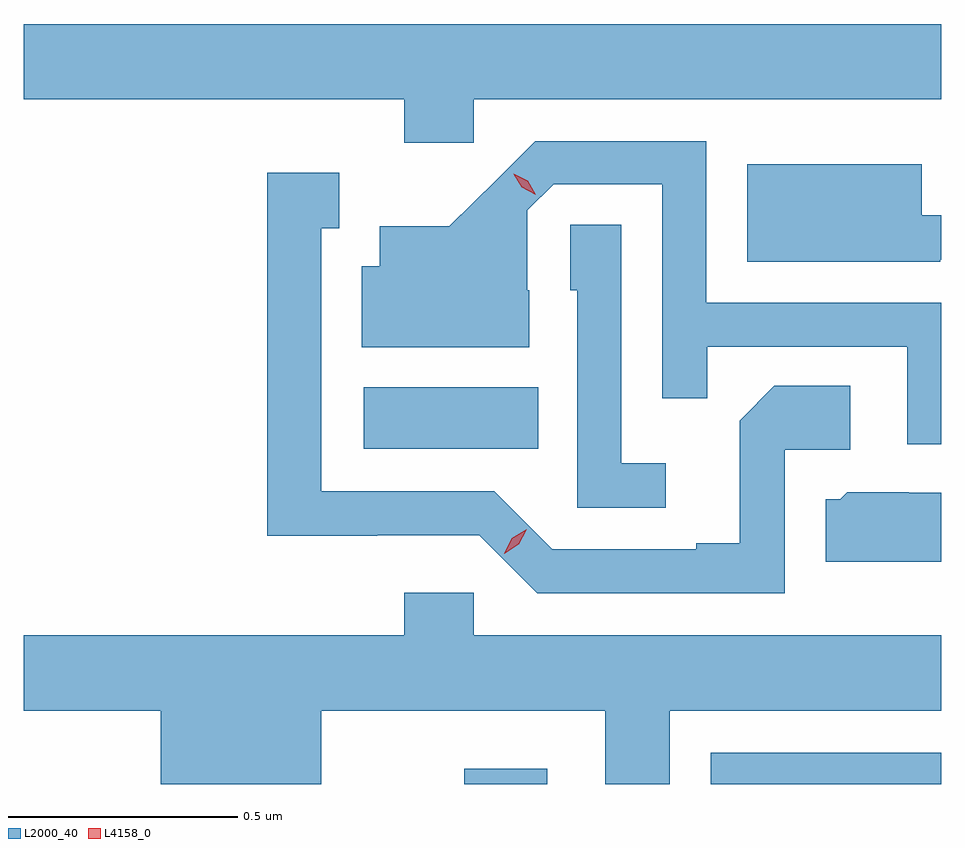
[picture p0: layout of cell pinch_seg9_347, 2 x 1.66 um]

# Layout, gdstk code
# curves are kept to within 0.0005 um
import gdstk
lib = gdstk.Library(unit=1e-6, precision=1e-09)
def R(c, l, rs):  # rectangles x0, y0, x1, y1
    for r in rs: c.add(gdstk.rectangle(r[:2], r[2:], *l))
def P(c, l, *ps):  # polygons
    for p in ps: c.add(gdstk.Polygon(p, *l))
L2000_40 = (2000, 40)
L4158_0 = (4158, 0)

pinch_seg9_347 = lib.new_cell('pinch_seg9_347')
R(pinch_seg9_347, L2000_40, [(621.777,1202.92,621.958,1202.953), (622.314,1202.92,622.817,1202.988), (621.558,1203.65,621.938,1203.784)])
P(pinch_seg9_347, L2000_40, [(621.798,1204.412),(622.817,1204.412),(622.817,1204.576),(620.817,1204.576),(620.817,1204.412),(621.647,1204.412),(621.647,1204.317),(621.798,1204.317)],
  [(622.817,1203.969),(622.305,1203.969),(622.305,1204.32),(621.932,1204.32),(621.745,1204.135),(621.593,1204.135),(621.593,1204.048),(621.554,1204.048),(621.554,1203.872),(621.919,1203.872),(621.919,1203.996),(621.915,1203.996),(621.915,1204.17),(621.972,1204.227),(622.209,1204.227),(622.209,1203.76),(622.307,1203.76),(622.307,1203.873),(622.743,1203.873),(622.743,1203.66),(622.817,1203.66)],
  [(622.814,1204.062),(622.817,1204.062),(622.817,1204.159),(622.774,1204.159),(622.774,1204.27),(622.394,1204.27),(622.394,1204.058),(622.814,1204.058)],
  [(622.476,1203.648),(622.618,1203.648),(622.618,1203.788),(622.453,1203.788),(622.377,1203.712),(622.377,1203.445),(622.283,1203.445),(622.283,1203.432),(621.969,1203.432),(621.843,1203.558),(621.466,1203.558),(621.466,1204.131),(621.505,1204.131),(621.505,1204.252),(621.348,1204.252),(621.348,1203.461),(621.588,1203.461),(621.588,1203.462),(621.81,1203.462),(621.936,1203.336),(622.476,1203.336)],
  [(622.216,1203.619),(622.119,1203.619),(622.119,1204.139),(622.008,1204.139),(622.008,1203.996),(622.023,1203.996),(622.023,1203.522),(622.216,1203.522)],
  [(622.817,1203.555),(622.746,1203.555),(622.746,1203.556),(622.612,1203.556),(622.596,1203.54),(622.565,1203.54),(622.565,1203.404),(622.817,1203.404)],
  [(621.466,1203.08),(622.085,1203.08),(622.085,1202.92),(622.225,1202.92),(622.225,1203.08),(622.817,1203.08),(622.817,1203.244),(621.798,1203.244),(621.798,1203.337),(621.647,1203.337),(621.647,1203.244),(620.817,1203.244),(620.817,1203.08),(621.116,1203.08),(621.116,1202.92),(621.466,1202.92)])
P(pinch_seg9_347, L4158_0, [(621.933,1204.204),(621.902,1204.22),(621.885,1204.249),(621.885,1204.25),(621.885,1204.25),(621.916,1204.234),(621.933,1204.204),(621.933,1204.204)],
  [(621.864,1203.422),(621.864,1203.422),(621.881,1203.455),(621.913,1203.475),(621.913,1203.475),(621.913,1203.475),(621.896,1203.442),(621.864,1203.422)])

lib.write_gds('pinch_seg9_347.gds')
